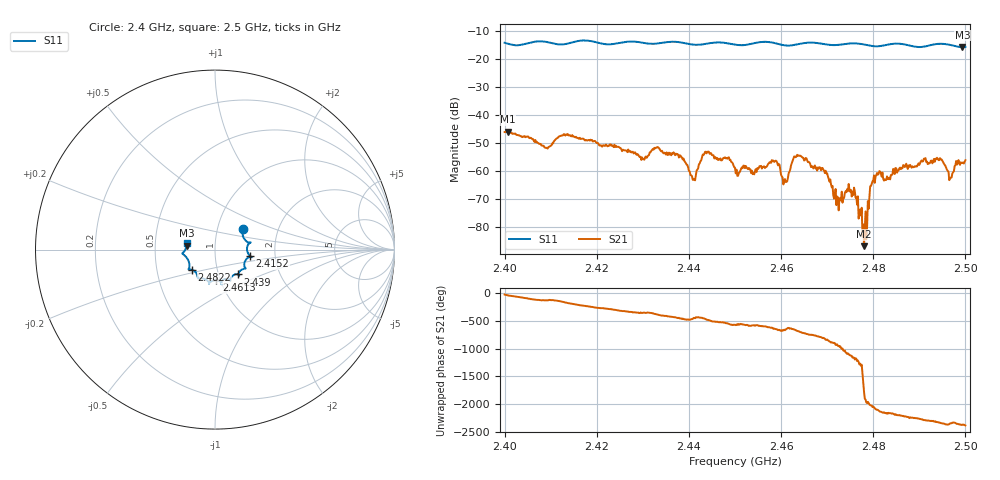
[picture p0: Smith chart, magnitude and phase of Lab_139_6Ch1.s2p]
# Hz S RI R 50
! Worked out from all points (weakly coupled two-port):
!   601 points, 2.4 GHz to 2.5 GHz, reference 50 ohm
!   highest |S21| = -46.09 dB at 2.4007 GHz (marker M1); lowest = -86.8 dB at 2.478 GHz (marker M2)
!   lowest |S11| = -15.9 dB at 2.4993 GHz (marker M3), VSWR 1.38, Z = 36.3 + j1.64 ohm
!   |S11| at or under -10 dB: start of sweep to end of sweep
!   S12 and S22 are empty: the file has one direction only
!   S11 on the Smith chart (normalised r, x): 2.4 GHz: 1.33, +0.31; 2.4152 GHz: 1.48, -0.11; 2.439 GHz: 1.24, -0.36; 2.4613 GHz: 0.96, -0.34; 2.4822 GHz: 0.75, -0.17; 2.5 GHz: 0.73, +0.05
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2.4e9  0.1549 0.1121  0.00434 -0.00231  0 0  0 0
2.400667e9  0.1538 0.1023  0.00374 -0.00326  0 0  0 0
2.409167e9  0.1937 0.038  -0.00171 -0.00191  0 0  0 0
2.415167e9  0.1957 -0.0365  -0.00374 0.00149  0 0  0 0
2.416667e9  0.205 -0.0427  -0.00265 0.00261  0 0  0 0
2.433333e9  0.1322 -0.1318  0.00218 -0.00145  0 0  0 0
2.439e9  0.1283 -0.1384  -0.000579 -0.00139  0 0  0 0
2.440833e9  0.111 -0.1383  -0.000206 -0.000661  0 0  0 0
2.443833e9  0.0867 -0.1624  -0.00104 -0.00176  0 0  0 0
2.45e9  0.0685 -0.1639  -0.000958 0.000615  0 0  0 0
2.4585e9  0.0368 -0.1863  0.000258 0.00142  0 0  0 0
2.461333e9  0.00736 -0.1703  9.15e-05 0.000649  0 0  0 0
2.463333e9  -0.0204 -0.1769  0.00133 0.00121  0 0  0 0
2.466667e9  -0.0332 -0.1898  0.000994 -0.000694  0 0  0 0
2.4725e9  -0.0712 -0.1603  -0.000122 0.000156  0 0  0 0
2.4755e9  -0.0928 -0.1619  4.51e-05 -0.000425  0 0  0 0
2.478e9  -0.0972 -0.1494  4.13e-05 1.92e-05  0 0  0 0
2.479833e9  -0.1058 -0.1291  -0.000204 0.000616  0 0  0 0
2.482167e9  -0.1285 -0.112  0.000714 7.25e-05  0 0  0 0
2.483333e9  -0.1399 -0.1105  0.000711 3.81e-05  0 0  0 0
2.499333e9  -0.1587 0.022  -0.0012 0.000691  0 0  0 0
2.5e9  -0.158 0.0341  -0.00109 0.00109  0 0  0 0
